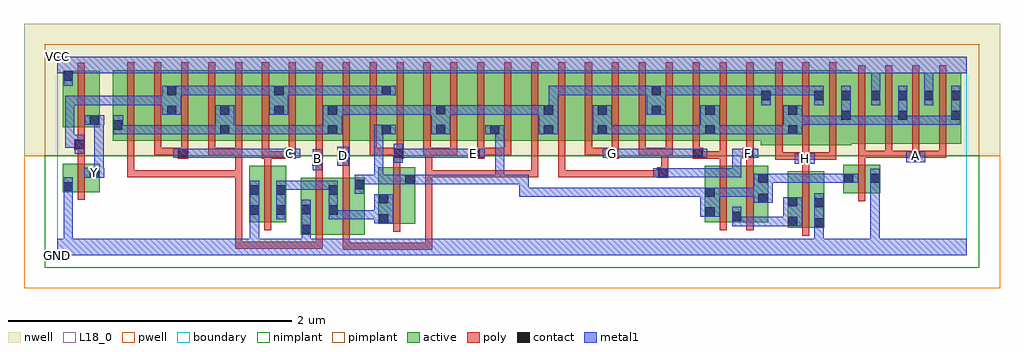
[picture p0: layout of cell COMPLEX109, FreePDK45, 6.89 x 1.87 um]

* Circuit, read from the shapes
.subckt COMPLEX109 A B C D E F G GND H VCC Y
M1 Y n1 GND VSUBS nfet w=0.2u l=0.05u
M2 n2 C GND VSUBS nfet w=0.4u l=0.05u
M3 n2 B GND VSUBS nfet w=0.4u l=0.05u
M4 n1 D n2 VSUBS nfet w=0.4u l=0.05u
M5 n1 E n2 VSUBS nfet w=0.4u l=0.05u
M6 n3 G n1 VSUBS nfet w=0.4u l=0.05u
M7 n1 F n3 VSUBS nfet w=0.4u l=0.05u
M8 GND H n3 VSUBS nfet w=0.4u l=0.05u
M9 GND A n1 VSUBS nfet w=0.2u l=0.05u
M10 Y n1 VCC n4 pfet w=0.4u l=0.05u
M11 n5 B n6 n4 pfet w=0.5u l=0.05u
M12 n1 C n5 n4 pfet w=0.5u l=0.05u
M13 n7 C n1 n4 pfet w=0.5u l=0.05u
M14 n6 B n7 n4 pfet w=0.5u l=0.05u
M15 n8 B n6 n4 pfet w=0.5u l=0.05u
M16 n1 C n8 n4 pfet w=0.5u l=0.05u
M17 n9 C n1 n4 pfet w=0.5u l=0.05u
M18 n6 B n9 n4 pfet w=0.5u l=0.05u
M19 n10 D n6 n4 pfet w=0.5u l=0.05u
M20 n1 E n10 n4 pfet w=0.5u l=0.05u
M21 n11 E n1 n4 pfet w=0.5u l=0.05u
M22 n6 D n11 n4 pfet w=0.5u l=0.05u
M23 n12 D n6 n4 pfet w=0.5u l=0.05u
M24 n1 E n12 n4 pfet w=0.5u l=0.05u
M25 n13 E n1 n4 pfet w=0.5u l=0.05u
M26 n6 D n13 n4 pfet w=0.5u l=0.05u
M27 n14 F n6 n4 pfet w=0.5u l=0.05u
M28 n15 G n14 n4 pfet w=0.5u l=0.05u
M29 n16 G n15 n4 pfet w=0.5u l=0.05u
M30 n6 F n16 n4 pfet w=0.5u l=0.05u
M31 n17 F n6 n4 pfet w=0.5u l=0.05u
M32 n15 G n17 n4 pfet w=0.5u l=0.05u
M33 n18 G n15 n4 pfet w=0.5u l=0.05u
M34 n6 F n18 n4 pfet w=0.5u l=0.05u
M35 n15 H n6 n4 pfet w=0.532u l=0.05u m=3
M36 VCC A n15 n4 pfet w=0.5u l=0.05u m=4
.ends

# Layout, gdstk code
import gdstk
lib = gdstk.Library(unit=1e-6, precision=1e-09)
def R(c, l, rs):  # rectangles x0, y0, x1, y1
    for r in rs: c.add(gdstk.rectangle(r[:2], r[2:], *l))
def A(c, l, x, y, w, h, nx, ny, dx, dy):  # array of equal rectangles
    R(c, l, [(x+i*dx, y+j*dy, x+i*dx+w, y+j*dy+h) for i in range(nx) for j in range(ny)])
active = (1, 0)
pwell = (2, 0)
nwell = (3, 0)
nimplant = (4, 0)
pimplant = (5, 0)
poly = (9, 0)
contact = (10, 0)
metal1 = (11, 0)
L18_0 = (18, 0)
boundary = (235, 0)

complex109 = lib.new_cell('COMPLEX109')
A(complex109, active, 2.515, 0.807, 0.23, 0.5, 6, 1, 0.38, 0)
A(complex109, active, 2.67, 0.807, 0.075, 0.393, 3, 1, 0.76, 0)
A(complex109, active, 2.67, 0.807, 0.225, 0.5, 6, 1, 0.38, 0)
A(complex109, active, 3.05, 0.807, 0.075, 0.263, 3, 1, 0.76, 0)
R(complex109, active, [(1.72,0.145,1.795,0.545), (1.72,0.145,1.985,0.545), (1.91,0.145,2.17,0.545), (5.155,0.192,5.415,0.592), (5.34,0.192,5.415,0.592), (1.91,0.2,1.985,0.537), (5.155,0.2,5.23,0.592), (2.267,0.22,2.342,0.62), (2.267,0.22,2.527,0.62), (1.355,0.232,1.43,0.632), (1.355,0.232,1.615,0.632), (1.54,0.232,1.615,0.632), (2.452,0.232,2.527,0.62), (4.57,0.232,4.645,0.632), (4.57,0.232,4.835,0.632), (4.76,0.232,5.02,0.632), (4.76,0.232,4.835,0.492), (2.095,0.245,2.17,0.545), (4.945,0.245,5.02,0.632), (5.55,0.437,5.81,0.637), (5.735,0.437,5.81,0.637), (0.04,0.445,0.115,0.645), (0.04,0.445,0.3,0.645), (0.225,0.445,0.3,0.645), (5.55,0.445,5.625,0.637), (4.965,0.775,5.23,1.307), (5.155,0.775,5.415,1.307), (5.155,0.775,5.23,1.07), (5.34,0.775,5.605,1.307), (5.34,0.775,5.415,1.2), (5.53,0.787,5.815,1.287), (5.74,0.787,6.005,1.287), (5.93,0.787,6.19,1.287), (6.115,0.787,6.38,1.287), (6.305,0.787,6.38,1.2), (0.39,0.807,0.615,1.307), (0.39,0.807,0.495,1.07), (0.615,0.807,0.845,1.307), (0.77,0.807,0.845,1.2), (0.77,0.807,0.995,1.307), (0.995,0.807,1.22,1.307), (1.145,0.807,1.22,1.07), (1.145,0.807,1.375,1.307), (1.375,0.807,1.602,1.307), (1.527,0.807,1.602,1.2), (1.527,0.807,1.755,1.307), (1.755,0.807,1.98,1.307), (1.905,0.807,1.98,1.07), (1.905,0.807,2.135,1.307), (2.135,0.807,2.36,1.307), (2.285,0.807,2.36,1.2), (2.285,0.807,2.515,1.307), (4.795,0.807,5.04,1.307), (4.965,0.807,5.04,1.2), (5.53,0.807,5.605,1.2), (5.74,0.807,5.815,1.255), (5.93,0.807,6.005,1.2), (6.115,0.807,6.19,1.255), (0.04,0.902,0.115,1.302), (0.04,0.902,0.3,1.302), (0.225,0.902,0.3,1.07)])
R(complex109, pwell, [(-0.235,-0.235,6.655,0.7)])
R(complex109, nwell, [(-0.235,0.7,6.655,1.635)])
R(complex109, nimplant, [(-0.09,-0.09,6.51,0.7)])
R(complex109, pimplant, [(-0.09,0.7,6.51,1.49)])
A(complex109, poly, 5.07, 0.675, 0.05, 0.095, 3, 1, 0.19, 0)
A(complex109, poly, 0.85, 0.682, 0.075, 0.075, 3, 1, 0.76, 0)
A(complex109, poly, 5.655, 0.687, 0.05, 0.095, 4, 1, 0.19, 0)
A(complex109, poly, 0.685, 0.707, 0.05, 0.095, 4, 1, 0.19, 0)
A(complex109, poly, 2.205, 0.707, 0.05, 0.095, 6, 1, 0.19, 0)
A(complex109, poly, 3.725, 0.707, 0.05, 0.095, 5, 1, 0.19, 0)
A(complex109, poly, 5.07, 0.72, 0.05, 0.642, 3, 1, 0.19, 0)
A(complex109, poly, 5.655, 0.732, 0.05, 0.61, 4, 1, 0.19, 0)
A(complex109, poly, 0.495, 0.752, 0.05, 0.61, 24, 1, 0.19, 0)
R(complex109, poly, [(2.015,0.037,2.065,0.087), (2.015,0.037,2.065,0.14), (2.015,0.037,2.197,0.087), (2.147,0.037,2.197,0.087), (2.147,0.037,2.197,0.087), (2.147,0.037,2.197,0.087), (2.147,0.037,2.387,0.087), (2.337,0.037,2.387,0.087), (2.337,0.037,2.387,0.087), (2.337,0.037,2.387,0.087), (2.337,0.037,2.647,0.087), (2.597,0.037,2.647,0.087), (2.597,0.037,2.647,0.087), (2.597,0.037,2.647,0.087), (2.597,0.037,2.647,0.087), (2.597,0.037,2.647,0.087), (2.597,0.037,2.647,0.6), (1.255,0.045,1.305,0.095), (1.255,0.045,1.305,0.095), (1.255,0.045,1.305,0.095), (1.255,0.045,1.527,0.095), (1.255,0.045,1.305,0.6), (1.477,0.045,1.527,0.095), (1.477,0.045,1.66,0.095), (1.61,0.045,1.66,0.095), (1.61,0.045,1.66,0.095), (1.61,0.045,1.66,0.095), (1.61,0.045,1.875,0.095), (1.825,0.045,1.875,0.14), (1.825,0.045,1.875,0.095), (1.825,0.045,1.875,0.095), (1.825,0.045,1.875,0.095), (1.825,0.09,1.875,0.6), (2.015,0.09,2.065,0.6), (5.26,0.137,5.31,0.647), (2.372,0.165,2.422,0.675), (1.46,0.177,1.51,0.687), (4.675,0.177,4.725,0.687), (4.865,0.177,4.915,0.687), (5.655,0.382,5.705,0.692), (0.145,0.39,0.195,0.7), (4.237,0.545,4.312,0.62), (0.495,0.55,0.545,0.6), (0.495,0.55,0.545,0.6), (0.495,0.55,0.545,0.6), (0.495,0.55,0.545,0.6), (0.495,0.55,0.545,0.6), (0.495,0.55,0.545,0.6), (0.495,0.55,0.545,0.6), (0.495,0.55,0.545,0.6), (0.495,0.55,0.545,0.6), (0.495,0.55,0.545,0.802), (0.495,0.55,0.767,0.6), (0.717,0.55,0.767,0.6), (0.717,0.55,0.767,0.6), (0.717,0.55,0.767,0.6), (0.717,0.55,0.982,0.6), (0.932,0.55,0.982,0.6), (0.932,0.55,0.982,0.6), (0.932,0.55,0.982,0.6), (0.932,0.55,1.172,0.6), (1.122,0.55,1.172,0.6), (1.122,0.55,1.172,0.6), (1.122,0.55,1.172,0.6), (1.122,0.55,1.305,0.6), (1.255,0.55,1.305,0.6), (1.255,0.55,1.305,0.6), (1.255,0.55,1.305,0.6), (1.255,0.55,1.305,0.6), (1.255,0.55,1.305,0.6), (1.255,0.55,1.305,0.6), (1.255,0.55,1.305,0.6), (1.255,0.55,1.305,0.757), (1.825,0.55,1.875,0.68), (2.015,0.55,2.065,0.712), (2.597,0.55,2.647,0.6), (2.597,0.55,2.647,0.6), (2.597,0.55,2.647,0.6), (2.597,0.55,2.647,0.6), (2.597,0.55,2.647,0.6), (2.597,0.55,2.78,0.6), (2.597,0.55,2.647,0.757), (2.73,0.55,2.78,0.6), (2.73,0.55,2.78,0.6), (2.73,0.55,2.78,0.6), (2.73,0.55,3.015,0.6), (2.965,0.55,3.015,0.6), (2.965,0.55,3.015,0.6), (2.965,0.55,3.015,0.6), (2.965,0.55,3.147,0.6), (3.097,0.55,3.147,0.6), (3.097,0.55,3.147,0.6), (3.097,0.55,3.147,0.6), (3.097,0.55,3.147,0.6), (3.097,0.55,3.147,0.6), (3.097,0.55,3.395,0.6), (3.345,0.55,3.395,0.6), (3.345,0.55,3.395,0.6), (3.345,0.55,3.395,0.6), (3.345,0.55,3.395,0.6), (3.345,0.55,3.395,0.6), (3.345,0.55,3.395,0.6), (3.345,0.55,3.395,0.6), (3.345,0.55,3.395,0.802), (3.535,0.55,3.585,0.6), (3.535,0.55,3.585,0.6), (3.535,0.55,3.585,0.6), (3.535,0.55,3.585,0.6), (3.535,0.55,3.585,0.6), (3.535,0.55,3.585,0.6), (3.535,0.55,3.585,0.6), (3.535,0.55,3.775,0.6), (3.535,0.55,3.585,0.802), (3.725,0.55,3.775,0.6), (3.725,0.55,3.907,0.6), (3.857,0.55,3.907,0.6), (3.857,0.55,3.907,0.6), (3.857,0.55,3.907,0.6), (3.857,0.55,4.155,0.6), (4.105,0.55,4.155,0.6), (4.105,0.55,4.155,0.6), (4.105,0.55,4.155,0.6), (4.105,0.55,4.287,0.6), (4.237,0.55,4.287,0.6), (4.237,0.55,4.287,0.6), (4.262,0.57,4.312,0.62), (4.262,0.57,4.312,0.62), (4.262,0.57,4.312,0.757), (5.26,0.597,5.31,0.7), (2.372,0.625,2.422,0.732), (1.8,0.63,1.875,0.705), (1.46,0.637,1.51,0.732), (4.675,0.637,4.725,0.732), (4.865,0.637,4.915,0.732), (5.655,0.642,5.705,0.737), (0.145,0.65,0.195,0.795), (5.235,0.65,5.31,0.725), (1.825,0.655,1.875,0.802), (1.987,0.662,2.065,0.737), (6.022,0.662,6.097,0.737), (5.07,0.675,5.12,0.725), (5.07,0.675,5.12,0.725), (5.07,0.675,5.12,0.725), (5.07,0.675,5.285,0.725), (5.26,0.675,5.5,0.725), (5.45,0.675,5.5,0.725), (5.45,0.675,5.5,0.725), (5.45,0.675,5.5,0.725), (1.445,0.682,1.495,0.802), (1.445,0.682,1.51,0.732), (1.46,0.682,1.66,0.732), (1.61,0.682,1.66,0.732), (1.61,0.682,1.66,0.732), (2.912,0.682,3.015,0.757), (3.882,0.682,3.965,0.757), (4.485,0.682,4.56,0.757), (4.51,0.682,4.725,0.732), (4.675,0.682,4.725,0.732), (4.675,0.682,4.725,0.732), (4.675,0.682,4.725,0.732), (4.675,0.682,4.725,0.802), (4.84,0.682,4.915,0.757), (2.015,0.687,2.065,0.802), (5.655,0.687,5.705,0.737), (5.655,0.687,5.705,0.737), (5.655,0.687,5.705,0.737), (5.655,0.687,5.895,0.737), (5.845,0.687,5.895,0.737), (5.845,0.687,6.072,0.737), (6.022,0.687,6.072,0.737), (6.022,0.687,6.072,0.737), (6.047,0.687,6.275,0.737), (6.225,0.687,6.275,0.737), (6.225,0.687,6.275,0.737), (6.225,0.687,6.275,0.737), (0.685,0.707,0.735,0.757), (0.685,0.707,0.735,0.757), (0.685,0.707,0.735,0.757), (0.685,0.707,0.9,0.757), (1.065,0.707,1.115,0.757), (1.065,0.707,1.115,0.757), (1.065,0.707,1.115,0.757), (1.065,0.707,1.305,0.757), (1.255,0.707,1.305,0.757), (1.635,0.707,1.685,0.802), (2.205,0.707,2.255,0.757), (2.205,0.707,2.42,0.757), (2.37,0.707,2.42,0.757), (2.37,0.707,2.42,0.757), (2.585,0.707,2.647,0.757), (2.597,0.707,2.825,0.757), (2.775,0.707,2.825,0.757), (2.775,0.707,2.825,0.757), (2.775,0.707,2.825,0.757), (2.965,0.707,3.205,0.757), (3.155,0.707,3.205,0.757), (3.155,0.707,3.205,0.757), (3.155,0.707,3.205,0.757), (3.725,0.707,3.775,0.757), (3.725,0.707,3.775,0.757), (3.725,0.707,3.775,0.757), (3.725,0.707,3.932,0.757), (4.105,0.707,4.155,0.757), (4.105,0.707,4.312,0.757), (4.262,0.707,4.312,0.757), (4.262,0.707,4.312,0.757), (4.262,0.707,4.345,0.757), (4.865,0.707,4.915,0.802), (0.12,0.745,0.195,0.82), (0.145,0.77,0.195,0.897), (0.145,0.847,0.195,1.357)])
A(complex109, contact, 0.855, 0.687, 0.065, 0.065, 3, 1, 0.76, 0)
A(complex109, contact, 3.055, 0.852, 0.065, 0.065, 3, 1, 0.38, 0)
R(complex109, contact, [(1.725,0.15,1.79,0.215), (5.345,0.197,5.41,0.262), (5.16,0.205,5.225,0.27), (2.272,0.225,2.337,0.29), (4.765,0.24,4.83,0.305), (4.575,0.272,4.64,0.337), (1.36,0.287,1.425,0.352), (1.545,0.287,1.61,0.352), (1.915,0.287,1.98,0.352), (1.725,0.29,1.79,0.355), (5.345,0.337,5.41,0.402), (5.16,0.345,5.225,0.41), (2.272,0.365,2.337,0.43), (4.95,0.37,5.015,0.435), (4.575,0.412,4.64,0.477), (1.36,0.427,1.425,0.492), (1.545,0.427,1.61,0.492), (1.915,0.427,1.98,0.492), (0.045,0.45,0.11,0.515), (2.1,0.467,2.165,0.532), (2.457,0.502,2.522,0.567), (4.95,0.51,5.015,0.575), (5.555,0.51,5.62,0.575), (5.74,0.51,5.805,0.575), (0.23,0.547,0.295,0.612), (4.242,0.55,4.307,0.615), (1.805,0.635,1.87,0.7), (5.24,0.655,5.305,0.72), (1.992,0.667,2.057,0.732), (6.027,0.667,6.092,0.732), (2.917,0.687,2.982,0.752), (3.887,0.687,3.952,0.752), (4.49,0.687,4.555,0.752), (4.845,0.687,4.91,0.752), (0.125,0.75,0.19,0.815), (1.15,0.852,1.215,0.917), (1.91,0.852,1.975,0.917), (4.575,0.852,4.64,0.917), (5.16,0.852,5.225,0.917), (2.29,0.855,2.355,0.92), (2.675,0.855,2.74,0.92), (0.395,0.887,0.46,0.952), (0.23,0.922,0.295,0.987), (5.535,0.955,5.6,1.02), (5.935,0.955,6,1.02), (6.31,0.955,6.375,1.02), (0.775,0.99,0.84,1.055), (1.532,0.99,1.597,1.055), (4.195,0.99,4.26,1.055), (1.15,0.992,1.215,1.057), (1.91,0.992,1.975,1.057), (3.435,0.992,3.5,1.057), (3.815,0.992,3.88,1.057), (4.575,0.992,4.64,1.057), (5.16,0.992,5.225,1.057), (2.675,0.995,2.74,1.06), (4.97,1.095,5.035,1.16), (5.345,1.095,5.41,1.16), (5.535,1.095,5.6,1.16), (5.745,1.095,5.81,1.16), (5.935,1.095,6,1.16), (6.12,1.095,6.185,1.16), (6.31,1.095,6.375,1.16), (0.775,1.13,0.84,1.195), (1.532,1.13,1.597,1.195), (2.29,1.13,2.355,1.195), (4.195,1.13,4.26,1.195), (0.045,1.232,0.11,1.297)])
R(complex109, metal1, [(0,0,6.42,0.115), (0.045,0.05,0.11,0.115), (0.045,0.05,0.11,0.115), (0.045,0.05,0.11,0.115), (0.045,0.05,0.11,0.115), (0.045,0.05,0.11,0.48), (1.36,0.05,1.425,0.115), (1.36,0.05,1.425,0.115), (1.36,0.05,1.425,0.317), (1.725,0.05,1.79,0.115), (1.725,0.05,1.79,0.115), (1.725,0.05,1.79,0.18), (5.345,0.05,5.41,0.115), (5.345,0.05,5.41,0.115), (5.345,0.05,5.41,0.227), (5.74,0.05,5.805,0.115), (5.74,0.05,5.805,0.115), (5.74,0.05,5.805,0.115), (5.74,0.05,5.805,0.115), (5.74,0.05,5.805,0.115), (5.74,0.05,5.805,0.115), (5.74,0.05,5.805,0.54), (1.725,0.115,1.79,0.39), (5.345,0.162,5.41,0.437), (4.765,0.205,4.83,0.34), (4.765,0.205,4.897,0.27), (4.832,0.205,4.897,0.27), (4.832,0.205,5.05,0.27), (4.985,0.205,5.05,0.27), (4.985,0.205,5.05,0.27), (4.985,0.205,5.05,0.27), (4.985,0.205,5.19,0.27), (5.125,0.205,5.26,0.41), (2.237,0.225,2.372,0.43), (1.36,0.252,1.425,0.527), (1.545,0.252,1.61,0.527), (1.915,0.252,1.98,0.317), (1.915,0.252,1.98,0.317), (1.915,0.252,1.98,0.527), (1.915,0.252,2.147,0.317), (2.082,0.252,2.147,0.317), (2.082,0.252,2.147,0.317), (2.082,0.252,2.147,0.317), (2.082,0.252,2.302,0.317), (4.54,0.272,4.675,0.477), (4.915,0.37,5.05,0.575), (3.262,0.412,3.327,0.477), (3.262,0.412,3.327,0.477), (3.262,0.412,3.327,0.477), (3.262,0.412,3.535,0.477), (3.262,0.412,3.327,0.567), (3.47,0.412,3.535,0.477), (3.47,0.412,3.535,0.477), (3.47,0.412,3.535,0.477), (3.47,0.412,3.672,0.477), (3.607,0.412,3.672,0.477), (3.607,0.412,3.672,0.477), (3.607,0.412,3.672,0.477), (3.607,0.412,3.95,0.477), (3.885,0.412,3.95,0.477), (3.885,0.412,3.95,0.477), (3.885,0.412,3.95,0.477), (3.885,0.412,4.087,0.477), (4.022,0.412,4.087,0.477), (4.022,0.412,4.125,0.477), (4.06,0.412,4.125,0.477), (4.06,0.412,4.33,0.477), (4.265,0.412,4.33,0.477), (4.265,0.412,4.33,0.477), (4.265,0.412,4.33,0.477), (4.265,0.412,4.467,0.477), (4.402,0.412,4.467,0.477), (4.402,0.412,4.48,0.477), (4.415,0.412,4.48,0.477), (4.415,0.412,4.605,0.477), (4.61,0.412,4.675,0.477), (4.61,0.412,4.675,0.477), (4.61,0.412,4.83,0.477), (4.765,0.412,4.83,0.477), (4.765,0.412,4.83,0.477), (4.765,0.412,4.83,0.477), (4.765,0.412,4.98,0.477), (0.045,0.415,0.11,0.48), (0.045,0.415,0.11,0.48), (0.045,0.415,0.11,0.55), (2.1,0.432,2.165,0.567), (1.545,0.462,1.662,0.527), (1.597,0.462,1.662,0.527), (1.597,0.462,1.802,0.527), (1.737,0.462,1.802,0.527), (1.737,0.462,1.802,0.527), (1.737,0.462,1.802,0.527), (1.737,0.462,1.98,0.527), (5.74,0.475,5.805,0.61), (2.1,0.502,2.165,0.567), (2.1,0.502,2.165,0.567), (2.1,0.502,2.302,0.567), (2.237,0.502,2.302,0.567), (2.237,0.502,2.302,0.567), (2.237,0.502,2.302,0.567), (2.237,0.502,2.302,0.567), (2.237,0.502,2.302,0.567), (2.237,0.502,2.487,0.567), (2.237,0.502,2.302,0.92), (2.422,0.502,2.557,0.567), (2.492,0.502,2.577,0.567), (2.512,0.502,2.577,0.567), (2.512,0.502,2.715,0.567), (2.65,0.502,2.715,0.567), (2.65,0.502,2.715,0.567), (2.65,0.502,2.715,0.567), (2.65,0.502,2.915,0.567), (2.85,0.502,2.915,0.567), (2.85,0.502,3.052,0.567), (2.987,0.502,3.052,0.567), (2.987,0.502,3.155,0.567), (3.09,0.502,3.155,0.567), (3.09,0.502,3.155,0.567), (3.09,0.502,3.155,0.567), (3.09,0.502,3.155,0.567), (3.09,0.502,3.155,0.567), (3.09,0.502,3.19,0.567), (3.09,0.502,3.155,0.917), (3.125,0.502,3.19,0.567), (3.125,0.502,3.327,0.567), (3.262,0.502,3.327,0.567), (4.985,0.51,5.05,0.575), (4.985,0.51,5.05,0.575), (4.985,0.51,5.19,0.575), (5.125,0.51,5.19,0.575), (5.125,0.51,5.19,0.575), (5.125,0.51,5.19,0.575), (5.125,0.51,5.41,0.575), (5.345,0.51,5.41,0.575), (5.345,0.51,5.41,0.575), (5.345,0.51,5.41,0.575), (5.345,0.51,5.585,0.575), (5.52,0.51,5.585,0.575), (5.52,0.51,5.585,0.575), (5.52,0.51,5.655,0.575), (0.192,0.547,0.33,0.617), (4.207,0.55,4.342,0.615), (4.277,0.55,4.467,0.615), (4.402,0.55,4.467,0.615), (4.402,0.55,4.467,0.615), (4.402,0.55,4.467,0.615), (4.402,0.55,4.48,0.615), (4.415,0.55,4.48,0.615), (4.415,0.55,4.617,0.615), (4.552,0.55,4.617,0.615), (4.552,0.55,4.617,0.615), (4.552,0.55,4.617,0.615), (4.552,0.55,4.83,0.615), (4.765,0.55,4.83,0.615), (4.765,0.55,4.83,0.752), (0.262,0.552,0.327,0.617), (0.262,0.552,0.327,0.617), (0.262,0.552,0.327,0.987), (1.802,0.6,1.872,0.747), (1.977,0.632,2.057,0.767), (5.205,0.647,5.347,0.72), (2.375,0.652,2.44,0.787), (5.992,0.655,6.127,0.732), (0.82,0.687,0.955,0.752), (0.89,0.687,1.042,0.752), (0.977,0.687,1.042,0.752), (0.977,0.687,1.042,0.752), (0.977,0.687,1.042,0.752), (0.977,0.687,1.092,0.752), (1.027,0.687,1.092,0.752), (1.027,0.687,1.28,0.752), (1.215,0.687,1.28,0.752), (1.215,0.687,1.28,0.752), (1.215,0.687,1.28,0.752), (1.215,0.687,1.417,0.752), (1.352,0.687,1.417,0.752), (1.352,0.687,1.417,0.752), (1.352,0.687,1.417,0.752), (1.352,0.687,1.63,0.752), (1.565,0.687,1.63,0.752), (1.565,0.687,1.63,0.752), (1.565,0.687,1.632,0.752), (1.567,0.687,1.632,0.752), (1.567,0.687,1.715,0.752), (2.375,0.687,2.44,0.752), (2.375,0.687,2.44,0.752), (2.375,0.687,2.577,0.752), (2.512,0.687,2.577,0.752), (2.512,0.687,2.715,0.752), (2.65,0.687,2.715,0.752), (2.65,0.687,2.715,0.752), (2.65,0.687,2.715,0.752), (2.65,0.687,2.915,0.752), (2.85,0.687,2.915,0.752), (2.85,0.687,2.937,0.752), (2.872,0.687,3.017,0.752), (3.852,0.687,3.987,0.752), (3.922,0.687,4.087,0.752), (4.022,0.687,4.087,0.752), (4.022,0.687,4.125,0.752), (4.06,0.687,4.125,0.752), (4.06,0.687,4.272,0.752), (4.207,0.687,4.272,0.752), (4.207,0.687,4.272,0.752), (4.207,0.687,4.272,0.752), (4.207,0.687,4.467,0.752), (4.402,0.687,4.467,0.752), (4.402,0.687,4.52,0.752), (4.455,0.687,4.59,0.752), (4.765,0.687,4.83,0.752), (4.765,0.687,4.875,0.752), (4.81,0.687,4.947,0.752), (0.125,0.715,0.19,0.85), (0.055,0.76,0.12,0.825), (0.055,0.76,0.12,0.825), (0.055,0.76,0.12,0.825), (0.055,0.76,0.12,0.825), (0.055,0.76,0.12,0.825), (0.055,0.76,0.19,0.825), (0.055,0.76,0.12,1.125), (0.395,0.852,0.467,0.987), (0.402,0.852,0.467,0.917), (0.402,0.852,0.467,0.917), (0.402,0.852,0.605,0.917), (0.54,0.852,0.605,0.917), (0.54,0.852,0.605,0.917), (0.54,0.852,0.605,0.917), (0.54,0.852,0.742,0.917), (0.677,0.852,0.742,0.917), (0.677,0.852,0.742,0.917), (0.677,0.852,0.742,0.917), (0.677,0.852,1.042,0.917), (0.977,0.852,1.042,0.917), (0.977,0.852,1.092,0.917), (1.027,0.852,1.092,0.917), (1.027,0.852,1.18,0.917), (1.115,0.852,1.25,1.057), (1.185,0.852,1.25,0.917), (1.185,0.852,1.25,0.917), (1.185,0.852,1.425,0.917), (1.36,0.852,1.425,0.917), (1.36,0.852,1.425,0.917), (1.36,0.852,1.425,0.917), (1.36,0.852,1.652,0.917), (1.587,0.852,1.652,0.917), (1.587,0.852,1.652,0.917), (1.587,0.852,1.652,0.917), (1.587,0.852,1.802,0.917), (1.737,0.852,1.802,0.917), (1.737,0.852,1.802,0.917), (1.737,0.852,1.802,0.917), (1.737,0.852,1.94,0.917), (1.875,0.852,2.01,1.057), (3.02,0.852,3.155,0.917), (3.4,0.852,3.535,1.057), (3.78,0.852,3.915,1.057), (3.85,0.852,3.915,0.917), (3.85,0.852,3.915,0.917), (3.85,0.852,4.087,0.917), (4.022,0.852,4.087,0.917), (4.022,0.852,4.125,0.917), (4.06,0.852,4.125,0.917), (4.06,0.852,4.33,0.917), (4.265,0.852,4.33,0.917), (4.265,0.852,4.33,0.917), (4.265,0.852,4.33,0.917), (4.265,0.852,4.467,0.917), (4.402,0.852,4.467,0.917), (4.402,0.852,4.48,0.917), (4.415,0.852,4.48,0.917), (4.415,0.852,4.605,0.917), (4.54,0.852,4.675,1.057), (4.61,0.852,4.675,0.917), (4.61,0.852,4.675,0.917), (4.61,0.852,4.83,0.917), (4.765,0.852,4.83,0.917), (4.765,0.852,4.83,0.917), (4.765,0.852,4.83,0.917), (4.765,0.852,5.05,0.917), (4.985,0.852,5.05,0.917), (4.985,0.852,5.05,0.917), (4.985,0.852,5.05,0.917), (4.985,0.852,5.19,0.917), (5.125,0.852,5.26,1.057), (2.237,0.855,2.39,0.92), (2.64,0.855,2.775,1.06), (5.195,0.92,5.26,0.985), (5.195,0.92,5.26,0.985), (5.195,0.92,5.447,0.985), (5.382,0.92,5.447,0.985), (5.382,0.92,5.447,0.985), (5.382,0.92,5.447,0.985), (5.382,0.92,5.6,0.985), (5.535,0.92,5.6,0.985), (5.535,0.92,5.6,0.985), (5.535,0.92,5.6,1.195), (5.535,0.92,5.792,0.985), (5.727,0.92,5.792,0.985), (5.727,0.92,5.792,0.985), (5.727,0.92,5.792,0.985), (5.727,0.92,6,0.985), (5.935,0.92,6,0.985), (5.935,0.92,6,0.985), (5.935,0.92,6,1.195), (5.935,0.92,6.237,0.985), (6.172,0.92,6.237,0.985), (6.172,0.92,6.375,0.985), (6.31,0.92,6.375,0.985), (6.31,0.92,6.375,0.985), (6.31,0.92,6.375,1.195), (0.195,0.922,0.33,0.987), (0.74,0.99,0.875,1.195), (1.497,0.99,1.632,1.195), (4.16,0.99,4.295,1.195), (1.945,0.992,2.01,1.057), (1.945,0.992,2.01,1.057), (1.945,0.992,2.147,1.057), (2.082,0.992,2.147,1.057), (2.082,0.992,2.147,1.057), (2.082,0.992,2.147,1.057), (2.082,0.992,2.302,1.057), (2.237,0.992,2.302,1.057), (2.237,0.992,2.302,1.057), (2.237,0.992,2.302,1.057), (2.237,0.992,2.44,1.057), (2.375,0.992,2.44,1.057), (2.375,0.992,2.577,1.057), (2.512,0.992,2.577,1.057), (2.512,0.992,2.705,1.057), (2.71,0.992,2.775,1.057), (2.71,0.992,2.775,1.057), (2.71,0.992,2.915,1.057), (2.85,0.992,2.915,1.057), (2.85,0.992,3.052,1.057), (2.987,0.992,3.052,1.057), (2.987,0.992,3.052,1.057), (2.987,0.992,3.052,1.057), (2.987,0.992,3.19,1.057), (3.125,0.992,3.19,1.057), (3.125,0.992,3.327,1.057), (3.262,0.992,3.327,1.057), (3.262,0.992,3.327,1.057), (3.262,0.992,3.327,1.057), (3.262,0.992,3.465,1.057), (3.47,0.992,3.535,1.195), (0.055,1.06,0.12,1.125), (0.055,1.06,0.262,1.125), (0.197,1.06,0.262,1.125), (0.197,1.06,0.262,1.125), (0.197,1.06,0.262,1.125), (0.197,1.06,0.467,1.125), (0.402,1.06,0.467,1.125), (0.402,1.06,0.467,1.125), (0.402,1.06,0.467,1.125), (0.402,1.06,0.605,1.125), (0.54,1.06,0.605,1.125), (0.54,1.06,0.605,1.125), (0.54,1.06,0.605,1.125), (0.54,1.06,0.805,1.125), (4.97,1.06,5.035,1.195), (5.345,1.06,5.41,1.195), (5.745,1.06,5.81,1.195), (6.12,1.06,6.185,1.195), (0.81,1.13,0.875,1.195), (0.81,1.13,0.875,1.195), (0.81,1.13,1.042,1.195), (0.977,1.13,1.042,1.195), (0.977,1.13,1.092,1.195), (1.027,1.13,1.092,1.195), (1.027,1.13,1.23,1.195), (1.165,1.13,1.23,1.195), (1.165,1.13,1.23,1.195), (1.165,1.13,1.23,1.195), (1.165,1.13,1.417,1.195), (1.352,1.13,1.417,1.195), (1.352,1.13,1.417,1.195), (1.352,1.13,1.417,1.195), (1.352,1.13,1.562,1.195), (1.567,1.13,1.632,1.195), (1.567,1.13,1.632,1.195), (1.567,1.13,1.802,1.195), (1.737,1.13,1.802,1.195), (1.737,1.13,1.802,1.195), (1.737,1.13,1.802,1.195), (1.737,1.13,1.94,1.195), (1.875,1.13,1.94,1.195), (1.875,1.13,1.94,1.195), (1.875,1.13,1.94,1.195), (1.875,1.13,2.165,1.195), (2.1,1.13,2.165,1.195), (2.1,1.13,2.165,1.195), (2.1,1.13,2.165,1.195), (2.1,1.13,2.32,1.195), (2.255,1.13,2.39,1.195), (3.47,1.13,3.535,1.195), (3.47,1.13,3.535,1.195), (3.47,1.13,3.535,1.195), (3.47,1.13,3.707,1.195), (3.642,1.13,3.707,1.195), (3.642,1.13,3.707,1.195), (3.642,1.13,3.707,1.195), (3.642,1.13,3.95,1.195), (3.885,1.13,3.95,1.195), (3.885,1.13,3.95,1.195), (3.885,1.13,3.95,1.195), (3.885,1.13,4.087,1.195), (4.022,1.13,4.087,1.195), (4.022,1.13,4.125,1.195), (4.06,1.13,4.125,1.195), (4.06,1.13,4.225,1.195), (4.23,1.13,4.295,1.195), (4.23,1.13,4.295,1.195), (4.23,1.13,4.467,1.195), (4.402,1.13,4.467,1.195), (4.402,1.13,4.48,1.195), (4.415,1.13,4.48,1.195), (4.415,1.13,4.692,1.195), (4.627,1.13,4.692,1.195), (4.627,1.13,4.692,1.195), (4.627,1.13,4.692,1.195), (4.627,1.13,4.842,1.195), (4.777,1.13,4.842,1.195), (4.777,1.13,4.842,1.195), (4.777,1.13,4.842,1.195), (4.777,1.13,5.035,1.195), (4.97,1.13,5.035,1.195), (4.97,1.13,5.035,1.195), (4.97,1.13,5.27,1.195), (5.205,1.13,5.27,1.195), (5.205,1.13,5.27,1.195), (5.205,1.13,5.27,1.195), (5.205,1.13,5.41,1.195), (5.745,1.13,5.81,1.35), (6.12,1.13,6.185,1.35), (0.045,1.197,0.11,1.332), (0.045,1.267,0.11,1.35), (0,1.285,6.42,1.4)])
R(complex109, L18_0, [(0,0,6.42,0.115), (0.045,0.05,0.11,0.115), (0.045,0.05,0.11,0.115), (0.045,0.05,0.11,0.115), (0.045,0.05,0.11,0.115), (0.045,0.05,0.11,0.48), (1.36,0.05,1.425,0.115), (1.36,0.05,1.425,0.115), (1.36,0.05,1.425,0.317), (1.725,0.05,1.79,0.115), (1.725,0.05,1.79,0.115), (1.725,0.05,1.79,0.18), (5.345,0.05,5.41,0.115), (5.345,0.05,5.41,0.115), (5.345,0.05,5.41,0.227), (5.74,0.05,5.805,0.115), (5.74,0.05,5.805,0.115), (5.74,0.05,5.805,0.115), (5.74,0.05,5.805,0.115), (5.74,0.05,5.805,0.115), (5.74,0.05,5.805,0.115), (5.74,0.05,5.805,0.54), (1.725,0.115,1.79,0.39), (5.345,0.162,5.41,0.437), (1.36,0.252,1.425,0.527), (0.045,0.415,0.11,0.48), (0.045,0.415,0.11,0.48), (0.045,0.415,0.11,0.55), (5.74,0.475,5.805,0.61), (0.192,0.547,0.33,0.617), (0.227,0.547,0.292,0.612), (4.207,0.55,4.342,0.615), (4.277,0.55,4.467,0.615), (4.402,0.55,4.467,0.615), (4.402,0.55,4.467,0.615), (4.402,0.55,4.467,0.615), (4.402,0.55,4.48,0.615), (4.415,0.55,4.48,0.615), (4.415,0.55,4.617,0.615), (4.552,0.55,4.617,0.615), (4.552,0.55,4.617,0.615), (4.552,0.55,4.617,0.615), (4.552,0.55,4.83,0.615), (4.765,0.55,4.83,0.615), (4.765,0.55,4.83,0.752), (0.262,0.552,0.327,0.617), (0.262,0.552,0.327,0.617), (0.262,0.552,0.327,0.987), (1.802,0.6,1.872,0.747), (1.977,0.632,2.057,0.767), (1.807,0.647,1.872,0.712), (5.205,0.647,5.347,0.72), (5.247,0.647,5.312,0.712), (2.375,0.652,2.44,0.787), (5.992,0.655,6.127,0.732), (1.987,0.667,2.052,0.732), (6.027,0.667,6.092,0.732), (0.82,0.687,0.955,0.752), (0.89,0.687,1.042,0.752), (0.977,0.687,1.042,0.752), (0.977,0.687,1.042,0.752), (0.977,0.687,1.042,0.752), (0.977,0.687,1.092,0.752), (1.027,0.687,1.092,0.752), (1.027,0.687,1.28,0.752), (1.215,0.687,1.28,0.752), (1.215,0.687,1.28,0.752), (1.215,0.687,1.28,0.752), (1.215,0.687,1.417,0.752), (1.352,0.687,1.417,0.752), (1.352,0.687,1.417,0.752), (1.352,0.687,1.417,0.752), (1.352,0.687,1.63,0.752), (1.565,0.687,1.63,0.752), (1.565,0.687,1.63,0.752), (1.565,0.687,1.632,0.752), (1.567,0.687,1.632,0.752), (1.567,0.687,1.715,0.752), (1.607,0.687,1.672,0.752), (2.375,0.687,2.44,0.752), (2.375,0.687,2.44,0.752), (2.375,0.687,2.577,0.752), (2.512,0.687,2.577,0.752), (2.512,0.687,2.715,0.752), (2.65,0.687,2.715,0.752), (2.65,0.687,2.715,0.752), (2.65,0.687,2.715,0.752), (2.65,0.687,2.915,0.752), (2.85,0.687,2.915,0.752), (2.85,0.687,2.937,0.752), (2.872,0.687,3.017,0.752), (2.907,0.687,2.972,0.752), (3.852,0.687,3.987,0.752), (3.887,0.687,3.952,0.752), (3.922,0.687,4.087,0.752), (4.022,0.687,4.087,0.752), (4.022,0.687,4.125,0.752), (4.06,0.687,4.125,0.752), (4.06,0.687,4.272,0.752), (4.207,0.687,4.272,0.752), (4.207,0.687,4.272,0.752), (4.207,0.687,4.272,0.752), (4.207,0.687,4.467,0.752), (4.402,0.687,4.467,0.752), (4.402,0.687,4.52,0.752), (4.455,0.687,4.59,0.752), (4.765,0.687,4.83,0.752), (4.765,0.687,4.875,0.752), (4.81,0.687,4.947,0.752), (4.847,0.687,4.912,0.752), (0.195,0.922,0.33,0.987), (5.745,1.06,5.81,1.195), (6.12,1.06,6.185,1.195), (5.745,1.13,5.81,1.35), (6.12,1.13,6.185,1.35), (0.045,1.197,0.11,1.332), (0.045,1.267,0.11,1.35), (0,1.285,6.42,1.4)])
R(complex109, boundary, [(0,0,6.42,1.4)])
complex109.add(gdstk.Label('A', (6.06,0.7), layer=11, texttype=0))
complex109.add(gdstk.Label('B', (1.84,0.68), layer=11, texttype=0))
complex109.add(gdstk.Label('C', (1.64,0.72), layer=11, texttype=0))
complex109.add(gdstk.Label('D', (2.02,0.7), layer=11, texttype=0))
complex109.add(gdstk.Label('E', (2.94,0.72), layer=11, texttype=0))
complex109.add(gdstk.Label('F', (4.88,0.72), layer=11, texttype=0))
complex109.add(gdstk.Label('G', (3.92,0.72), layer=11, texttype=0))
complex109.add(gdstk.Label('H', (5.28,0.68), layer=11, texttype=0))
complex109.add(gdstk.Label('Y', (0.26,0.58), layer=11, texttype=0))
complex109.add(gdstk.Label('VCC', (0,1.4), layer=11, texttype=0))
complex109.add(gdstk.Label('GND', (0,0), layer=11, texttype=0))

lib.write_gds('COMPLEX109.gds')
